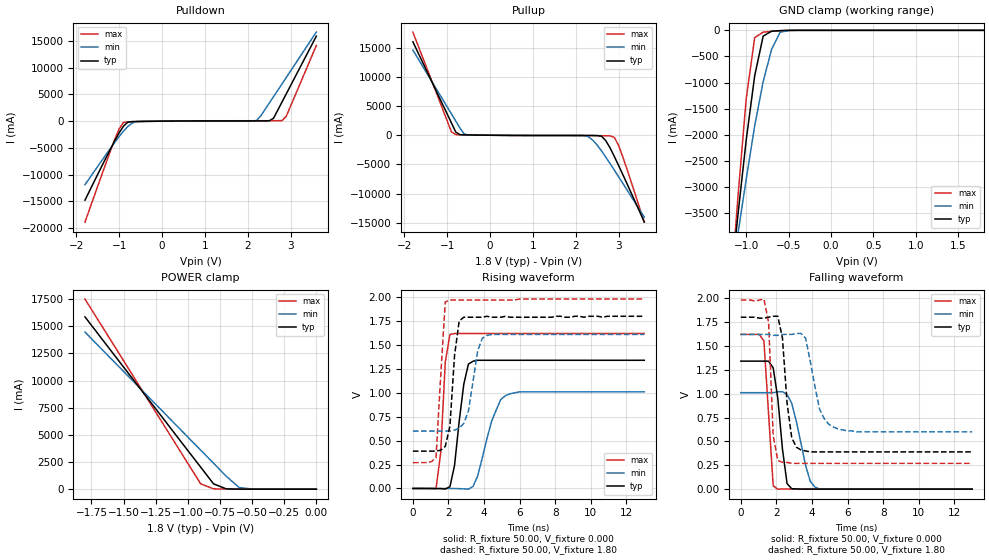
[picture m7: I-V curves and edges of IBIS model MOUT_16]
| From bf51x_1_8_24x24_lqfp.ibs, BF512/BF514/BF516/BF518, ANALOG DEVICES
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|   Model prw1216cdg_25
[Model]   MOUT_16
Model_type   I/O
Polarity   Non-Inverting
Enable   Active-Low
Vinl =   0.70V
Vinh =   1.00V
Vmeas =   1.20V
Cref =  50.00pF
Rref =   1.00M
Vref =  0.000V
C_comp   5.65pF   5.32pF   6.07pF
[Temperature Range]   25.00   0.12k   -40.00
[Voltage Range]   1.80V   1.62V   1.98V
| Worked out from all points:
|   slope of the pulldown table from 0 to 0.27 V, typ, clamps not added: 13 ohm
|   slope of the pullup table from 0 to 0.27 V, typ, clamps not added: 15 ohm
|   GND clamp passes 1 mA (typ) near -0.48 V on its own axis
|   POWER clamp passes 1 mA (typ) near -0.48 V on its own axis
|   rising waveform, R_fixture 50.00, V_fixture 0.000: 20-80 % time 492ps typ, 915ps min, 285ps max; typ from 0 V to 1.34 V
|   rising waveform, R_fixture 50.00, V_fixture 1.80: 20-80 % time 345ps typ, 510ps min, 327ps max; typ from 0.39 V to 1.8 V
|   falling waveform, R_fixture 50.00, V_fixture 0.000: 20-80 % time 468ps typ, 729ps min, 334ps max; typ from 1.34 V to 0 V
|   falling waveform, R_fixture 50.00, V_fixture 1.80: 20-80 % time 401ps typ, 696ps min, 224ps max; typ from 1.8 V to 0.39 V
[Pulldown]
| voltage   I(typ)   I(min)   I(max)
-1.8V     -14.79A    -11.9A     -18.92A
-1.1V     -3.61A     -3.93A     -3.32A
-1V       -2.15A     -2.86A     -1.41A
-900mV    -930mA     -1.85A     -240mA
-800mV    -180mA     -1A        -130mA
-600mV    -64mA      -67.73mA   -92.88mA
2.2V      44.69mA    110mA      77.14mA
2.5V      67.34mA    3.38A      79.68mA
2.6V      540mA      4.58A      85.38mA
2.8V      3.61A      7A         110mA
2.9V      5.15A      8.21A      950mA
3.6V      15.92A     16.68A     14.18A
[Pullup]
| voltage   I(typ)   I(min)   I(max)
-1.8V     15.99A     14.57A     17.65A
-900mV    2.1A       3.65A      580mA
-800mV    550mA      2.43A      120mA
-600mV    60.31mA    190mA      79.87mA
-500mV    47.33mA    42.03mA    63.41mA
2.3V      -42.64mA   -280mA     -66.42mA
2.6V      -160mA     -2.66A     -77.35mA
2.7V      -910mA     -3.73A     -89.4mA
2.9V      -3.61A     -5.96A     -350mA
3V        -5.16A     -7.09A     -1.73A
3.1V      -6.74A     -8.24A     -3.73A
3.6V      -14.83A    -14.01A    -14.88A
[GND_clamp]
| voltage   I(typ)   I(min)   I(max)
-1.8V     -14.79A    -11.9A     -18.91A
-1.2V     -5.12A     -5.03A     -5.38A
-1.1V     -3.57A     -3.92A     -3.24A
-1V       -2.1A      -2.85A     -1.31A
-900mV    -870mA     -1.83A     -140mA
-800mV    -110mA     -980mA     -34.21mA
-700mV    -16.21mA   -360mA     -19.76mA
-600mV    -5.91mA    -36.53mA   -8.52mA
-500mV    -1.28mA    -3.71mA    -1.77mA
-400mV    -100uA     -310uA     -95.6uA
1.8V      350pA      1.2uA      68pA
[POWER_clamp]
| voltage   I(typ)   I(min)   I(max)
-1.8V     15.87A     14.47A     17.51A
-900mV    2.03A      3.6A       490mA
-800mV    490mA      2.39A      29.14mA
-700mV    22.65mA    1.18A      14.9mA
-600mV    5.16mA     150mA      6.61mA
-500mV    1.28mA     9.49mA     1.67mA
0V        350pA      6.01nA     -44.88pA
[Ramp]
| variable   typ   min   max
dV/dt_r   0.81/0.49n   0.61/0.92n   0.98/0.27n
dV/dt_f   0.85/0.36n   0.61/0.67n   1.03/0.22n
R_load = 50.00
[Rising Waveform]
R_fixture = 50.00
V_fixture = 0.000
V_fixture_min = 0.000
V_fixture_max = 0.000
L_fixture = 0.000H
C_fixture = 0.000F
| time   V(typ)   V(min)   V(max)
0s        0V         0V         0V
1.3ns     -570uV     22.26uV    -3.98mV
1.56ns    -1.62mV    2.74uV     370mV
1.82ns    -5.81mV    -130uV     1.32V
2.08ns    17.77mV    -450uV     1.61V
2.34ns    240mV      -1.02mV    1.62V
2.86ns    1.09V      -4.68mV    1.62V
3.12ns    1.3V       -7.34mV    1.62V
5.2ns     1.34V      970mV      1.62V
13ns      1.34V      1.01V      1.62V
[Rising Waveform]
R_fixture = 50.00
V_fixture = 1.80
V_fixture_min = 1.62
V_fixture_max = 1.98
L_fixture = 0.000H
C_fixture = 0.000F
| time   V(typ)   V(min)   V(max)
0s        390mV      600mV      270mV
1.3ns     390mV      600mV      320mV
1.82ns    440mV      600mV      1.95V
2.08ns    650mV      600mV      1.97V
2.34ns    1.39V      610mV      1.97V
2.6ns     1.75V      630mV      1.97V
2.86ns    1.79V      680mV      1.97V
3.64ns    1.79V      1.44V      1.97V
4.16ns    1.8V       1.6V       1.97V
13ns      1.8V       1.61V      1.98V
[Falling Waveform]
R_fixture = 50.00
V_fixture = 0.000
V_fixture_min = 0.000
V_fixture_max = 0.000
L_fixture = 0.000H
C_fixture = 0.000F
| time   V(typ)   V(min)   V(max)
0s        1.34V      1.01V      1.62V
1.3ns     1.34V      1.01V      1.55V
1.82ns    1.27V      1.01V      34.68mV
2.08ns    950mV      1.02V      -320uV
2.34ns    420mV      1.02V      1.08mV
2.6ns     57.7mV     990mV      610uV
2.86ns    4.75mV     900mV      200uV
3.64ns    440uV      250mV      11.17uV
4.16ns    120uV      22.8mV     180nV
13ns      3.44uV     28.56uV    12uV
[Falling Waveform]
R_fixture = 50.00
V_fixture = 1.80
V_fixture_min = 1.62
V_fixture_max = 1.98
L_fixture = 0.000H
C_fixture = 0.000F
| time   V(typ)   V(min)   V(max)
0s        1.8V       1.62V      1.98V
1.3ns     1.79V      1.62V      1.99V
1.56ns    1.8V       1.62V      1.75V
1.82ns    1.81V      1.61V      560mV
2.08ns    1.81V      1.61V      300mV
2.86ns    540mV      1.62V      270mV
3.12ns    440mV      1.63V      270mV
3.64ns    400mV      1.58V      270mV
5.2ns     390mV      650mV      270mV
13ns      390mV      600mV      270mV
